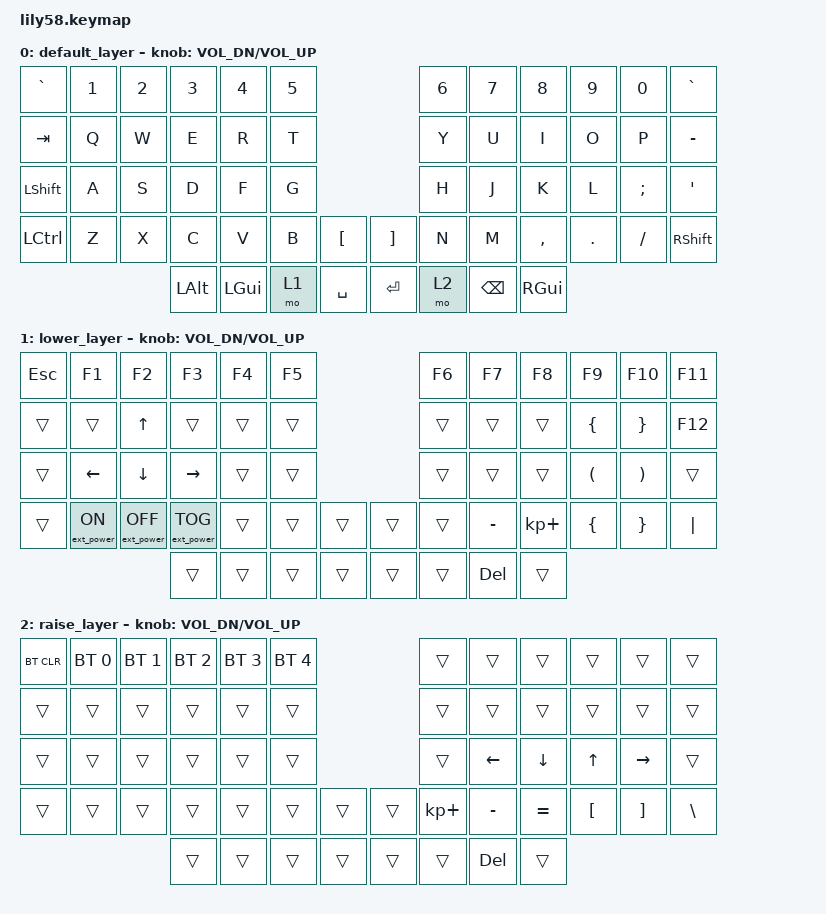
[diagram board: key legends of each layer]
/*
 * Copyright (c) 2020 The ZMK Contributors
 *
 * SPDX-License-Identifier: MIT
 */

#include <behaviors.dtsi>
#include <dt-bindings/zmk/keys.h>
#include <dt-bindings/zmk/bt.h>
#include <dt-bindings/zmk/ext_power.h>

/ {
    keymap {
        compatible = "zmk,keymap";

        default_layer {
// ------------------------------------------------------------------------------------------------------------
// |   `   |  1  |  2  |  3   |  4   |  5   |                   |  6   |  7    |  8    |  9   |   0   |   `   |
// |  TAB  |  Q  |  W  |  E   |  R   |  T   |                   |  Y   |  U    |  I    |  O   |   P   |   -   |
// |  CTRL |  A  |  S  |  D   |  F   |  G   |                   |  H   |  J    |  K    |  L   |   ;   |   '   |
// | SHIFT |  Z  |  X  |  C   |  V   |  B   |   "["  |  |  "]"  |  N   |  M    |  ,    |  .   |   /   | SHIFT |
//                     | ALT  | GUI  | LOWER|  SPACE |  | ENTER | RAISE| BSPC  | GUI   |
            bindings = <
&kp GRAVE &kp N1 &kp N2 &kp N3   &kp N4   &kp N5                     &kp N6 &kp N7   &kp N8    &kp N9  &kp N0   &kp GRAVE
&kp TAB   &kp Q  &kp W  &kp E    &kp R    &kp T                      &kp Y  &kp U    &kp I     &kp O   &kp P    &kp MINUS
&kp LSHFT &kp A  &kp S  &kp D    &kp F    &kp G                      &kp H  &kp J    &kp K     &kp L   &kp SEMI &kp SQT
&kp LCTRL &kp Z  &kp X  &kp C    &kp V    &kp B  &kp LBKT   &kp RBKT &kp N  &kp M    &kp COMMA &kp DOT &kp FSLH &kp RSHFT
                        &kp LALT &kp LGUI &mo 1  &kp SPACE  &kp RET  &mo 2  &kp BSPC &kp RGUI
            >;

            sensor-bindings = <&inc_dec_kp C_VOL_DN C_VOL_UP>;
        };

        lower_layer {
// ------------------------------------------------------------------------------------------------------------
// |  ESC  |  F1 |  F2 |  F3  |  F4  |  F5  |                   |  F6  |  F7   |  F8   |  F9  |  F10  |  F11  |
// |       |     |  ^  |      |      |      |                   |      |       |       |      |       |  F12  |
// |       |  <- |  v  |  ->  |      |      |                   |      |       |       |  (   |   )   |       |
// |       |     |     |      |      |      |        |  |       |  +   |  -    |  =    |  {   |   }   |  "|"  |
//                     |      |      |      |        |  |       |      | DEL   |       |
            bindings = <
&kp ESC    &kp F1           &kp F2            &kp F3            &kp F4       &kp F5                       &kp F6    &kp F7    &kp F8          &kp F9    &kp F10   &kp F11   
&trans     &trans           &kp UP            &trans            &trans       &trans                       &trans    &trans    &trans          &kp LBRC  &kp RBRC  &kp F12
&trans     &kp LEFT         &kp DOWN          &kp RIGHT         &trans       &trans                       &trans    &trans    &trans          &kp LPAR  &kp RPAR  &trans
&trans     &ext_power EP_ON &ext_power EP_OFF &ext_power EP_TOG &trans       &trans    &trans   &trans    &trans    &kp MINUS &kp KP_PLUS     &kp LBRC  &kp RBRC  &kp PIPE
                                              &trans            &trans       &trans    &trans   &trans    &trans    &kp DEL   &trans
            >;

            sensor-bindings = <&inc_dec_kp C_VOL_DN C_VOL_UP>;
        };

        raise_layer {
// ------------------------------------------------------------------------------------------------------------
// | BTCLR | BT1 | BT2 |  BT3 |  BT4 |  BT5 |                   |      |       |       |      |       |       |
// |       |     |     |      |      |      |                   |      |       |       |      |       |       |
// |       |     |     |      |      |      |                   |      |   <-  |   v   |  ^   |  ->   |       |
// |       |     |     |      |      |      |        |  |       |  +   |   -   |   =   |  [   |   ]   |   \   |
//                     |      |      |      |        |  |       |      | DEL   |       |
            bindings = <
&bt BT_CLR  &bt BT_SEL 0  &bt BT_SEL 1  &bt BT_SEL 2  &bt BT_SEL 3  &bt BT_SEL 4  &trans      &trans    &trans      &trans    &trans  &trans
&trans      &trans        &trans        &trans        &trans        &trans        &trans      &trans    &trans      &trans    &trans    &trans
&trans      &trans        &trans        &trans        &trans        &trans        &trans      &kp LEFT  &kp DOWN    &kp UP    &kp RIGHT &trans
&trans      &trans        &trans        &trans        &trans        &trans        &trans      &trans    &kp KP_PLUS &kp MINUS &kp EQUAL &kp LBKT &kp RBKT  &kp BSLH
&trans      &trans        &trans        &trans        &trans        &trans        &kp DEL     &trans
            >;

            sensor-bindings = <&inc_dec_kp C_VOL_DN C_VOL_UP>;
        };
    };
};
